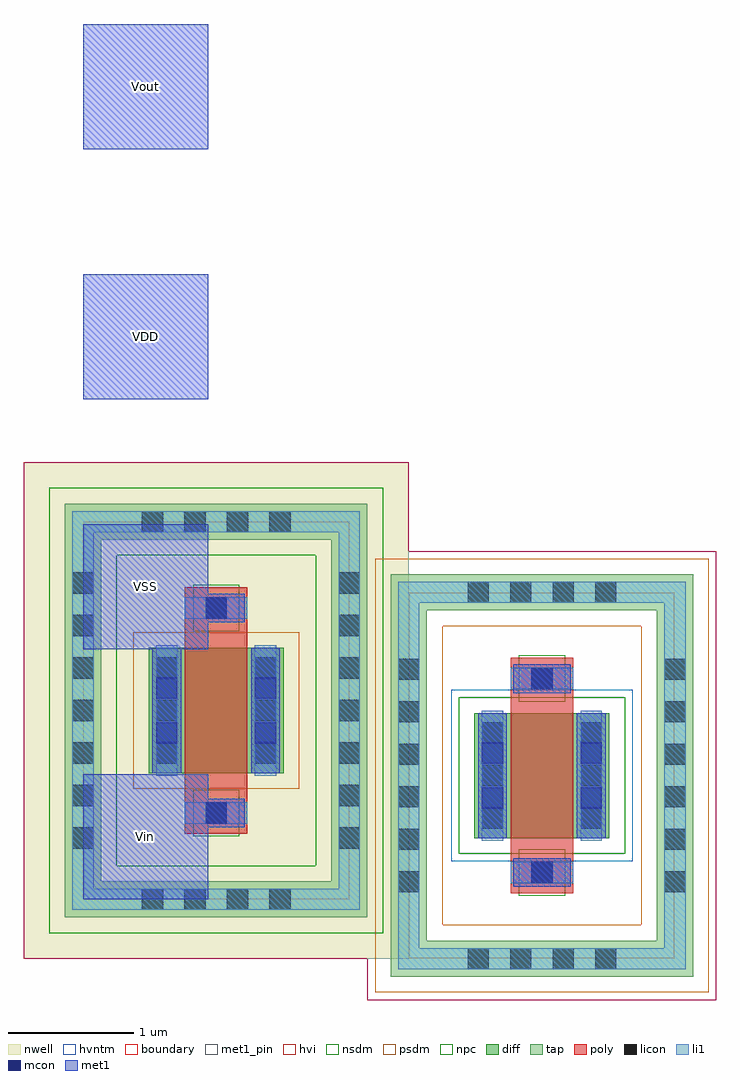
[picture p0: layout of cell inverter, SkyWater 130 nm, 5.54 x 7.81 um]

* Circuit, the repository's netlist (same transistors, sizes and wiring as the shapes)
* Extracted by KLayout with SKY130 LVS runset on : 30/06/2025 15:08

.SUBCKT inverter VSS|Vin sky130_gnd
M$1 \$I4 \$I3 \$I5 sky130_gnd sky130_fd_pr__nfet_g5v0d10v5 L=0.5 W=1 AS=0.29
+ AD=0.29 PS=2.58 PD=2.58
M$2 VSS|Vin VSS|Vin \$I8 \$I6 sky130_fd_pr__pfet_g5v0d10v5 L=0.5 W=1 AS=0.29
+ AD=0.29 PS=2.58 PD=2.58
.ENDS inverter

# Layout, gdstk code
import gdstk
lib = gdstk.Library(unit=1e-6, precision=1e-09)
def R(c, l, rs):  # rectangles x0, y0, x1, y1
    for r in rs: c.add(gdstk.rectangle(r[:2], r[2:], *l))
def A(c, l, x, y, w, h, nx, ny, dx, dy):  # array of equal rectangles
    R(c, l, [(x+i*dx, y+j*dy, x+i*dx+w, y+j*dy+h) for i in range(nx) for j in range(ny)])
nwell = (64, 20)
diff = (65, 20)
tap = (65, 44)
poly = (66, 20)
licon = (66, 44)
li1 = (67, 20)
mcon = (67, 44)
met1_pin = (68, 16)
met1 = (68, 20)
hvi = (75, 20)
nsdm = (93, 44)
psdm = (94, 20)
npc = (95, 20)
hvntm = (125, 20)
boundary = (235, 4)

sky130_fd_pr__pfet_g5v0d = lib.new_cell('sky130_fd_pr__pfet_g5v0d10v5_6HUAKP')
R(sky130_fd_pr__pfet_g5v0d, nwell, [(-1.54,-1.985,1.54,1.985)])
R(sky130_fd_pr__pfet_g5v0d, diff, [(-0.54,-0.5,0.54,0.5)])
R(sky130_fd_pr__pfet_g5v0d, tap, [(-1.21,-1.655,1.21,-1.365), (-1.21,-1.365,-0.92,1.365), (0.92,-1.365,1.21,1.365), (-1.21,1.365,1.21,1.655)])
R(sky130_fd_pr__pfet_g5v0d, poly, [(-0.25,-0.985,0.25,0.985)])
A(sky130_fd_pr__pfet_g5v0d, licon, -0.595, -1.595, 0.17, 0.17, 4, 2, 0.34, 3.02)
A(sky130_fd_pr__pfet_g5v0d, licon, -1.15, -1.105, 0.17, 0.17, 1, 7, 0, 0.34)
A(sky130_fd_pr__pfet_g5v0d, licon, 0.98, -1.105, 0.17, 0.17, 1, 7, 0, 0.34)
A(sky130_fd_pr__pfet_g5v0d, licon, -0.48, -0.425, 0.17, 0.17, 1, 3, 0, 0.34)
A(sky130_fd_pr__pfet_g5v0d, licon, 0.31, -0.425, 0.17, 0.17, 1, 3, 0, 0.34)
R(sky130_fd_pr__pfet_g5v0d, licon, [(-0.085,-0.905,0.085,-0.735), (-0.085,0.735,0.085,0.905)])
R(sky130_fd_pr__pfet_g5v0d, li1, [(-1.15,-1.595,1.15,-1.425), (-1.15,-1.425,-0.98,1.425), (0.98,-1.425,1.15,1.425), (-0.25,-0.905,0.25,-0.735), (-0.48,-0.52,-0.31,0.52), (0.31,-0.52,0.48,0.52), (-0.25,0.735,0.25,0.905), (-1.15,1.425,1.15,1.595)])
R(sky130_fd_pr__pfet_g5v0d, mcon, [(-0.085,-0.905,0.085,-0.735), (-0.48,-0.265,-0.31,-0.095), (0.31,-0.265,0.48,-0.095), (-0.48,0.095,-0.31,0.265), (0.31,0.095,0.48,0.265), (-0.085,0.735,0.085,0.905)])
R(sky130_fd_pr__pfet_g5v0d, met1, [(-0.23,-0.935,0.23,-0.705), (-0.51,-0.5,-0.28,0.5), (0.28,-0.5,0.51,0.5), (-0.23,0.705,0.23,0.935)])
R(sky130_fd_pr__pfet_g5v0d, hvi, [(-1.54,-1.985,1.54,1.985)])
R(sky130_fd_pr__pfet_g5v0d, nsdm, [(-1.335,-1.78,1.335,-1.24), (-1.335,-1.24,-0.795,1.24), (0.795,-1.24,1.335,1.24), (-1.335,1.24,1.335,1.78)])
R(sky130_fd_pr__pfet_g5v0d, psdm, [(-0.665,-0.625,0.665,0.625)])
R(sky130_fd_pr__pfet_g5v0d, npc, [(-0.185,-1.005,0.185,-0.635), (-0.185,0.635,0.185,1.005)])
R(sky130_fd_pr__pfet_g5v0d, boundary, [(-1.065,-1.51,1.065,1.51)])

sky130_fd_pr__nfet_g5v0d = lib.new_cell('sky130_fd_pr__nfet_g5v0d10v5_7DHE2Q')
R(sky130_fd_pr__nfet_g5v0d, diff, [(-0.54,-0.5,0.54,0.5)])
R(sky130_fd_pr__nfet_g5v0d, tap, [(-1.21,-1.61,1.21,-1.32), (-1.21,-1.32,-0.92,1.32), (0.92,-1.32,1.21,1.32), (-1.21,1.32,1.21,1.61)])
R(sky130_fd_pr__nfet_g5v0d, poly, [(-0.25,-0.94,0.25,0.94)])
A(sky130_fd_pr__nfet_g5v0d, licon, -0.595, -1.55, 0.17, 0.17, 4, 2, 0.34, 2.93)
A(sky130_fd_pr__nfet_g5v0d, licon, -1.15, -0.935, 0.17, 0.17, 1, 6, 0, 0.34)
A(sky130_fd_pr__nfet_g5v0d, licon, 0.98, -0.935, 0.17, 0.17, 1, 6, 0, 0.34)
A(sky130_fd_pr__nfet_g5v0d, licon, -0.48, -0.425, 0.17, 0.17, 1, 3, 0, 0.34)
A(sky130_fd_pr__nfet_g5v0d, licon, 0.31, -0.425, 0.17, 0.17, 1, 3, 0, 0.34)
R(sky130_fd_pr__nfet_g5v0d, licon, [(-0.085,-0.86,0.085,-0.69), (-0.085,0.69,0.085,0.86)])
R(sky130_fd_pr__nfet_g5v0d, li1, [(-1.15,-1.55,1.15,-1.38), (-1.15,-1.38,-0.98,1.38), (0.98,-1.38,1.15,1.38), (-0.25,-0.86,0.25,-0.69), (-0.48,-0.52,-0.31,0.52), (0.31,-0.52,0.48,0.52), (-0.25,0.69,0.25,0.86), (-1.15,1.38,1.15,1.55)])
R(sky130_fd_pr__nfet_g5v0d, mcon, [(-0.085,-0.86,0.085,-0.69), (-0.48,-0.265,-0.31,-0.095), (0.31,-0.265,0.48,-0.095), (-0.48,0.095,-0.31,0.265), (0.31,0.095,0.48,0.265), (-0.085,0.69,0.085,0.86)])
R(sky130_fd_pr__nfet_g5v0d, met1, [(-0.23,-0.89,0.23,-0.66), (-0.51,-0.5,-0.28,0.5), (0.28,-0.5,0.51,0.5), (-0.23,0.66,0.23,0.89)])
R(sky130_fd_pr__nfet_g5v0d, hvi, [(-1.395,-1.795,1.395,1.795)])
R(sky130_fd_pr__nfet_g5v0d, nsdm, [(-0.665,-0.625,0.665,0.625)])
R(sky130_fd_pr__nfet_g5v0d, psdm, [(-1.335,-1.735,1.335,-1.195), (-1.335,-1.195,-0.795,1.195), (0.795,-1.195,1.335,1.195), (-1.335,1.195,1.335,1.735)])
R(sky130_fd_pr__nfet_g5v0d, npc, [(-0.185,-0.96,0.185,-0.59), (-0.185,0.59,0.185,0.96)])
R(sky130_fd_pr__nfet_g5v0d, hvntm, [(-0.725,-0.685,0.725,0.685)])
R(sky130_fd_pr__nfet_g5v0d, boundary, [(-1.06,-1.46,1.06,1.46)])

inverter = lib.new_cell('inverter')
A(inverter, met1_pin, 0, -6, 1, 1, 1, 4, 0, 2)
A(inverter, met1, 0, -6, 1, 1, 1, 4, 0, 2)
inverter.add(gdstk.Reference(sky130_fd_pr__pfet_g5v0d, (1.065,-4.49)))
inverter.add(gdstk.Reference(sky130_fd_pr__nfet_g5v0d, (3.67,-5.01)))
inverter.add(gdstk.Label('Vout', (0.5,0.5), layer=68, texttype=5))
inverter.add(gdstk.Label('VDD', (0.5,-1.5), layer=68, texttype=5))
inverter.add(gdstk.Label('VSS', (0.5,-3.5), layer=68, texttype=5))
inverter.add(gdstk.Label('Vin', (0.5,-5.5), layer=68, texttype=5))

lib.write_gds('inverter.gds')
